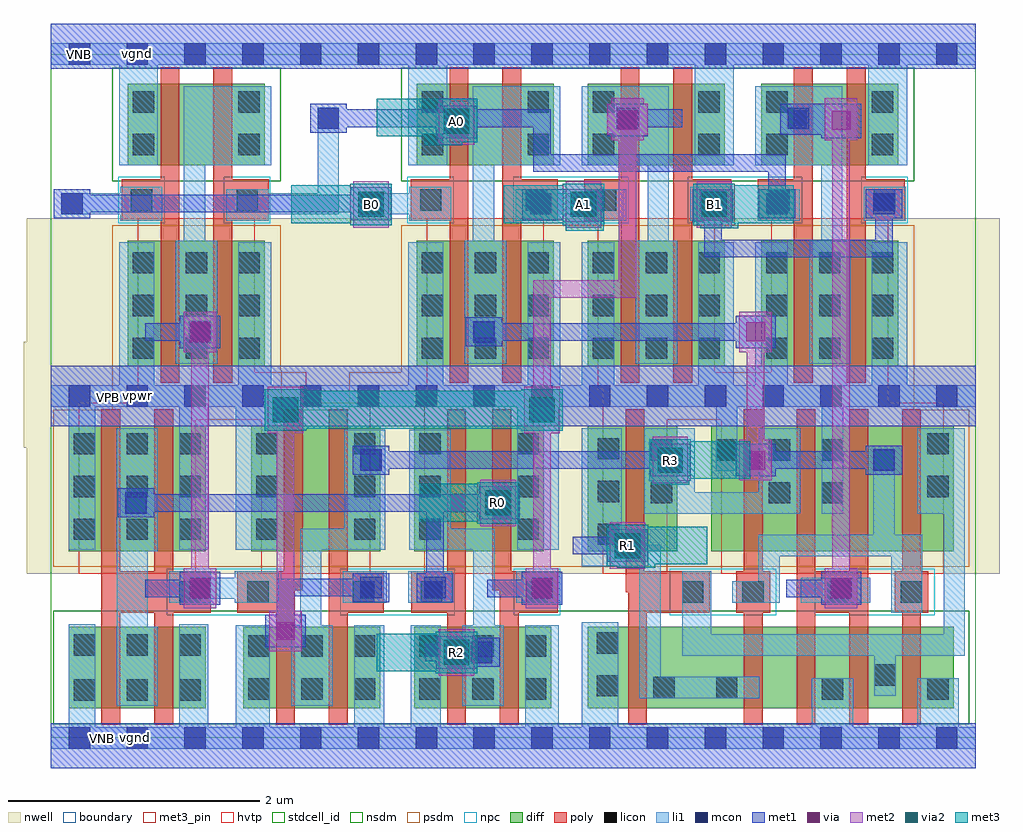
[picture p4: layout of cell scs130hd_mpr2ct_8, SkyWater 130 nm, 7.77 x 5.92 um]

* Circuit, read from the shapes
.subckt scs130hd_mpr2ct_8 A0 A1 B0 B1 R0 R1 R2 R3 VNB VPB vgnd vpwr
XM1 R0 n1 vgnd VNB sky130_fd_pr__nfet_01v8 w=0.65 l=0.15 m=2
XM2 n2 B0 vgnd VNB sky130_fd_pr__nfet_01v8 w=0.65 l=0.15
XM3 n1 A0 n2 VNB sky130_fd_pr__nfet_01v8 w=0.65 l=0.15
XM4 R3 n1 vgnd VNB sky130_fd_pr__nfet_01v8 w=0.65 l=0.15
XM5 vgnd n3 R3 VNB sky130_fd_pr__nfet_01v8 w=0.65 l=0.15
XM6 R2 R0 vgnd VNB sky130_fd_pr__nfet_01v8 w=0.65 l=0.15
XM7 n4 B0 vgnd VNB sky130_fd_pr__nfet_01v8 w=0.65 l=0.15
XM8 vgnd n3 R2 VNB sky130_fd_pr__nfet_01v8 w=0.65 l=0.15
XM9 n5 A1 n4 VNB sky130_fd_pr__nfet_01v8 w=0.65 l=0.15
XM10 n6 A1 n3 VNB sky130_fd_pr__nfet_01v8 w=0.65 l=0.15
XM11 R1 n7 vgnd VNB sky130_fd_pr__nfet_01v8 w=0.65 l=0.15
XM12 vgnd B1 n6 VNB sky130_fd_pr__nfet_01v8 w=0.65 l=0.15
XM13 n8 n5 R1 VNB sky130_fd_pr__nfet_01v8 w=0.65 l=0.15
XM14 n9 A0 n10 VNB sky130_fd_pr__nfet_01v8 w=0.65 l=0.15
XM15 vgnd n10 n8 VNB sky130_fd_pr__nfet_01v8 w=0.65 l=0.15
XM16 vgnd B1 n9 VNB sky130_fd_pr__nfet_01v8 w=0.65 l=0.15
XM17 n7 n10 vgnd VNB sky130_fd_pr__nfet_01v8 w=0.65 l=0.15
XM18 vgnd n5 n7 VNB sky130_fd_pr__nfet_01v8 w=0.65 l=0.15
XM19 R0 n1 vpwr VPB sky130_fd_pr__pfet_01v8_hvt w=1 l=0.15 m=2
XM20 n1 B0 vpwr VPB sky130_fd_pr__pfet_01v8_hvt w=1 l=0.15
XM21 vpwr A0 n1 VPB sky130_fd_pr__pfet_01v8_hvt w=1 l=0.15
XM22 n11 n1 vpwr VPB sky130_fd_pr__pfet_01v8_hvt w=1 l=0.15
XM23 R3 n3 n11 VPB sky130_fd_pr__pfet_01v8_hvt w=1 l=0.15
XM24 n12 R0 R2 VPB sky130_fd_pr__pfet_01v8_hvt w=1 l=0.15
XM25 n5 B0 vpwr VPB sky130_fd_pr__pfet_01v8_hvt w=1 l=0.15
XM26 vpwr n3 n12 VPB sky130_fd_pr__pfet_01v8_hvt w=1 l=0.15
XM27 vpwr A1 n5 VPB sky130_fd_pr__pfet_01v8_hvt w=1 l=0.15
XM28 n3 A1 vpwr VPB sky130_fd_pr__pfet_01v8_hvt w=1 l=0.15
XM29 n13 n7 R1 VPB sky130_fd_pr__pfet_01v8_hvt w=1 l=0.15
XM30 vpwr B1 n3 VPB sky130_fd_pr__pfet_01v8_hvt w=1 l=0.15
XM31 n13 n5 vpwr VPB sky130_fd_pr__pfet_01v8_hvt w=1 l=0.15
XM32 n10 A0 vpwr VPB sky130_fd_pr__pfet_01v8_hvt w=1 l=0.15
XM33 vpwr n10 n13 VPB sky130_fd_pr__pfet_01v8_hvt w=1 l=0.15
XM34 vpwr B1 n10 VPB sky130_fd_pr__pfet_01v8_hvt w=1 l=0.15
XM35 n14 n10 vpwr VPB sky130_fd_pr__pfet_01v8_hvt w=1 l=0.15
XM36 n7 n5 n14 VPB sky130_fd_pr__pfet_01v8_hvt w=1 l=0.15
.ends

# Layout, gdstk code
import gdstk
lib = gdstk.Library(unit=1e-6, precision=1e-09)
def R(c, l, rs):  # rectangles x0, y0, x1, y1
    for r in rs: c.add(gdstk.rectangle(r[:2], r[2:], *l))
nwell = (64, 20)
diff = (65, 20)
poly = (66, 20)
licon = (66, 44)
li1 = (67, 20)
mcon = (67, 44)
met1 = (68, 20)
via = (68, 44)
met2 = (69, 20)
via2 = (69, 44)
met3_pin = (70, 16)
met3 = (70, 20)
hvtp = (78, 44)
stdcell_id = (81, 4)
nsdm = (93, 44)
psdm = (94, 20)
npc = (95, 20)
boundary = (235, 4)

scs130hd_mpr2ct_8 = lib.new_cell('scs130hd_mpr2ct_8')
R(scs130hd_mpr2ct_8, nwell, [(-0.19,1.305,7.55,2.31), (-0.19,1.305,7.55,2.31), (-0.215,2.31,7.55,3.15), (-0.215,2.31,7.55,3.15), (-0.19,3.15,7.55,4.135), (-0.19,3.15,7.55,4.135)])
R(scs130hd_mpr2ct_8, diff, [(0.145,0.235,1.235,0.885), (0.145,0.235,1.235,0.885), (1.535,0.235,2.625,0.885), (1.535,0.235,2.625,0.885), (2.895,0.235,3.985,0.885), (2.895,0.235,3.985,0.885), (4.275,0.235,7.185,0.885), (4.275,0.235,7.185,0.885), (0.145,1.485,1.235,2.485), (0.145,1.485,1.235,2.485), (1.595,1.485,2.625,2.485), (1.595,1.485,2.625,2.485), (2.895,1.485,3.925,2.485), (2.895,1.485,3.925,2.485), (4.275,1.485,4.985,2.485), (4.275,1.485,4.985,2.485), (5.255,1.485,7.185,2.485), (5.255,1.485,7.185,2.485), (0.615,2.955,1.705,3.955), (0.615,2.955,1.705,3.955), (2.915,2.955,4.005,3.955), (2.915,2.955,4.005,3.955), (4.275,2.955,5.365,3.955), (4.275,2.955,5.365,3.955), (5.655,2.955,6.745,3.955), (5.655,2.955,6.745,3.955), (0.615,4.555,1.705,5.205), (0.615,4.555,1.705,5.205), (2.915,4.555,4.005,5.205), (2.915,4.555,4.005,5.205), (4.275,4.555,5.365,5.205), (4.275,4.555,5.365,5.205), (5.655,4.555,6.745,5.205), (5.655,4.555,6.745,5.205)])
R(scs130hd_mpr2ct_8, poly, [(0.405,0.105,0.555,0.995), (0.405,0.105,0.555,0.995), (0.825,0.105,0.975,0.995), (0.825,0.105,0.975,0.995), (1.795,0.105,1.945,0.995), (1.795,0.105,1.945,0.995), (2.215,0.105,2.365,0.995), (2.215,0.105,2.365,0.995), (3.155,0.105,3.305,0.995), (3.155,0.105,3.305,0.995), (3.575,0.105,3.725,0.995), (3.575,0.105,3.725,0.995), (4.595,0.105,4.745,0.995), (4.595,0.105,4.745,0.995), (5.515,0.105,5.665,0.995), (5.515,0.105,5.665,0.995), (5.935,0.105,6.085,0.995), (5.935,0.105,6.085,0.995), (6.355,0.105,6.505,0.995), (6.355,0.105,6.505,0.995), (6.775,0.105,6.925,0.995), (6.775,0.105,6.925,0.995), (0.405,0.995,1.275,1.325), (0.405,0.995,1.275,1.325), (1.485,0.995,1.945,1.175), (1.485,0.995,1.945,1.175), (2.215,0.995,2.65,1.325), (2.215,0.995,2.65,1.325), (2.87,0.995,3.305,1.325), (2.87,0.995,3.305,1.325), (3.575,0.995,4.035,1.175), (3.575,0.995,4.035,1.175), (4.595,0.995,5.245,1.16), (4.595,0.995,5.245,1.16), (5.455,0.995,5.725,1.325), (5.455,0.995,5.725,1.325), (5.935,0.995,6.505,1.325), (5.935,0.995,6.505,1.325), (6.715,0.995,6.985,1.325), (6.715,0.995,6.985,1.325), (4.575,1.16,5.245,1.325), (4.575,1.16,5.245,1.325), (1.485,1.175,2.005,1.325), (1.485,1.175,2.005,1.325), (3.515,1.175,4.035,1.325), (3.515,1.175,4.035,1.325), (0.405,1.325,0.555,2.615), (0.405,1.325,0.555,2.615), (0.825,1.325,0.975,2.615), (0.825,1.325,0.975,2.615), (1.855,1.325,2.005,2.615), (1.855,1.325,2.005,2.615), (2.215,1.325,2.365,2.615), (2.215,1.325,2.365,2.615), (3.155,1.325,3.305,2.615), (3.155,1.325,3.305,2.615), (3.515,1.325,3.665,2.615), (3.515,1.325,3.665,2.615), (4.575,1.325,4.725,2.615), (4.575,1.325,4.725,2.615), (5.515,1.325,5.665,2.615), (5.515,1.325,5.665,2.615), (5.935,1.325,6.085,2.615), (5.935,1.325,6.085,2.615), (6.355,1.325,6.505,2.615), (6.355,1.325,6.505,2.615), (6.775,1.325,6.925,2.615), (6.775,1.325,6.925,2.615), (0.875,2.825,1.025,4.115), (0.875,2.825,1.025,4.115), (1.295,2.825,1.445,4.115), (1.295,2.825,1.445,4.115), (3.175,2.825,3.325,4.115), (3.175,2.825,3.325,4.115), (3.595,2.825,3.745,4.115), (3.595,2.825,3.745,4.115), (4.535,2.825,4.685,4.115), (4.535,2.825,4.685,4.115), (4.955,2.825,5.105,4.115), (4.955,2.825,5.105,4.115), (5.915,2.825,6.065,4.115), (5.915,2.825,6.065,4.115), (6.335,2.825,6.485,4.115), (6.335,2.825,6.485,4.115), (0.565,4.115,1.025,4.445), (0.565,4.115,1.025,4.445), (1.295,4.115,1.735,4.445), (1.295,4.115,1.735,4.445), (2.865,4.115,3.325,4.445), (2.865,4.115,3.325,4.445), (3.595,4.115,4.035,4.445), (3.595,4.115,4.035,4.445), (4.245,4.115,4.685,4.445), (4.245,4.115,4.685,4.445), (4.955,4.115,5.415,4.445), (4.955,4.115,5.415,4.445), (5.625,4.115,6.065,4.445), (5.625,4.115,6.065,4.445), (6.335,4.115,6.795,4.445), (6.335,4.115,6.795,4.445), (0.875,4.445,1.025,5.335), (0.875,4.445,1.025,5.335), (1.295,4.445,1.445,5.335), (1.295,4.445,1.445,5.335), (3.175,4.445,3.325,5.335), (3.175,4.445,3.325,5.335), (3.595,4.445,3.745,5.335), (3.595,4.445,3.745,5.335), (4.535,4.445,4.685,5.335), (4.535,4.445,4.685,5.335), (4.955,4.445,5.105,5.335), (4.955,4.445,5.105,5.335), (5.915,4.445,6.065,5.335), (5.915,4.445,6.065,5.335), (6.335,4.445,6.485,5.335), (6.335,4.445,6.485,5.335)])
R(scs130hd_mpr2ct_8, licon, [(0.185,0.295,0.355,0.465), (0.185,0.295,0.355,0.465), (0.605,0.295,0.775,0.465), (0.605,0.295,0.775,0.465), (1.025,0.295,1.195,0.465), (1.025,0.295,1.195,0.465), (1.575,0.305,1.745,0.475), (1.575,0.305,1.745,0.475), (1.995,0.305,2.165,0.475), (1.995,0.305,2.165,0.475), (2.415,0.305,2.585,0.475), (2.415,0.305,2.585,0.475), (2.935,0.305,3.105,0.475), (2.935,0.305,3.105,0.475), (3.355,0.305,3.525,0.475), (3.355,0.305,3.525,0.475), (3.775,0.305,3.945,0.475), (3.775,0.305,3.945,0.475), (6.135,0.305,6.305,0.475), (6.135,0.305,6.305,0.475), (6.975,0.305,7.145,0.475), (6.975,0.305,7.145,0.475), (4.795,0.315,4.965,0.485), (4.795,0.315,4.965,0.485), (5.295,0.315,5.465,0.485), (5.295,0.315,5.465,0.485), (4.345,0.33,4.515,0.5), (4.345,0.33,4.515,0.5), (6.555,0.415,6.725,0.585), (6.555,0.415,6.725,0.585), (1.575,0.645,1.745,0.815), (1.575,0.645,1.745,0.815), (1.995,0.645,2.165,0.815), (1.995,0.645,2.165,0.815), (2.415,0.645,2.585,0.815), (2.415,0.645,2.585,0.815), (2.935,0.645,3.105,0.815), (2.935,0.645,3.105,0.815), (3.355,0.645,3.525,0.815), (3.355,0.645,3.525,0.815), (3.775,0.645,3.945,0.815), (3.775,0.645,3.945,0.815), (0.185,0.655,0.355,0.825), (0.185,0.655,0.355,0.825), (0.605,0.655,0.775,0.825), (0.605,0.655,0.775,0.825), (1.025,0.655,1.195,0.825), (1.025,0.655,1.195,0.825), (4.345,0.67,4.515,0.84), (4.345,0.67,4.515,0.84), (1.025,1.075,1.195,1.245), (1.025,1.075,1.195,1.245), (1.565,1.075,1.735,1.245), (1.565,1.075,1.735,1.245), (2.405,1.075,2.575,1.245), (2.405,1.075,2.575,1.245), (2.945,1.075,3.115,1.245), (2.945,1.075,3.115,1.245), (3.785,1.075,3.955,1.245), (3.785,1.075,3.955,1.245), (5.025,1.075,5.195,1.245), (5.025,1.075,5.195,1.245), (5.505,1.075,5.675,1.245), (5.505,1.075,5.675,1.245), (6.18,1.075,6.35,1.245), (6.18,1.075,6.35,1.245), (6.765,1.075,6.935,1.245), (6.765,1.075,6.935,1.245), (4.355,1.535,4.525,1.705), (4.355,1.535,4.525,1.705), (0.185,1.575,0.355,1.745), (0.185,1.575,0.355,1.745), (0.605,1.575,0.775,1.745), (0.605,1.575,0.775,1.745), (1.025,1.575,1.195,1.745), (1.025,1.575,1.195,1.745), (1.635,1.575,1.805,1.745), (1.635,1.575,1.805,1.745), (2.415,1.575,2.585,1.745), (2.415,1.575,2.585,1.745), (2.935,1.575,3.105,1.745), (2.935,1.575,3.105,1.745), (3.715,1.575,3.885,1.745), (3.715,1.575,3.885,1.745), (4.775,1.865,4.945,2.035), (4.775,1.865,4.945,2.035), (5.715,1.865,5.885,2.035), (5.715,1.865,5.885,2.035), (6.135,1.865,6.305,2.035), (6.135,1.865,6.305,2.035), (4.355,1.875,4.525,2.045), (4.355,1.875,4.525,2.045), (0.185,1.915,0.355,2.085), (0.185,1.915,0.355,2.085), (0.605,1.915,0.775,2.085), (0.605,1.915,0.775,2.085), (1.025,1.915,1.195,2.085), (1.025,1.915,1.195,2.085), (1.635,1.915,1.805,2.085), (1.635,1.915,1.805,2.085), (2.415,1.915,2.585,2.085), (2.415,1.915,2.585,2.085), (2.935,1.915,3.105,2.085), (2.935,1.915,3.105,2.085), (3.715,1.915,3.885,2.085), (3.715,1.915,3.885,2.085), (6.975,1.915,7.145,2.085), (6.975,1.915,7.145,2.085), (4.775,2.205,4.945,2.375), (4.775,2.205,4.945,2.375), (5.295,2.205,5.465,2.375), (5.295,2.205,5.465,2.375), (5.715,2.205,5.885,2.375), (5.715,2.205,5.885,2.375), (6.135,2.205,6.305,2.375), (6.135,2.205,6.305,2.375), (4.355,2.215,4.525,2.385), (4.355,2.215,4.525,2.385), (0.185,2.255,0.355,2.425), (0.185,2.255,0.355,2.425), (0.605,2.255,0.775,2.425), (0.605,2.255,0.775,2.425), (1.025,2.255,1.195,2.425), (1.025,2.255,1.195,2.425), (1.635,2.255,1.805,2.425), (1.635,2.255,1.805,2.425), (2.415,2.255,2.585,2.425), (2.415,2.255,2.585,2.425), (2.935,2.255,3.105,2.425), (2.935,2.255,3.105,2.425), (3.715,2.255,3.885,2.425), (3.715,2.255,3.885,2.425), (6.975,2.255,7.145,2.425), (6.975,2.255,7.145,2.425), (0.655,3.015,0.825,3.185), (0.655,3.015,0.825,3.185), (1.075,3.015,1.245,3.185), (1.075,3.015,1.245,3.185), (1.495,3.015,1.665,3.185), (1.495,3.015,1.665,3.185), (2.955,3.015,3.125,3.185), (2.955,3.015,3.125,3.185), (3.375,3.015,3.545,3.185), (3.375,3.015,3.545,3.185), (3.795,3.015,3.965,3.185), (3.795,3.015,3.965,3.185), (4.315,3.015,4.485,3.185), (4.315,3.015,4.485,3.185), (4.735,3.015,4.905,3.185), (4.735,3.015,4.905,3.185), (5.155,3.015,5.325,3.185), (5.155,3.015,5.325,3.185), (5.695,3.015,5.865,3.185), (5.695,3.015,5.865,3.185), (6.115,3.015,6.285,3.185), (6.115,3.015,6.285,3.185), (6.535,3.015,6.705,3.185), (6.535,3.015,6.705,3.185), (0.655,3.355,0.825,3.525), (0.655,3.355,0.825,3.525), (1.075,3.355,1.245,3.525), (1.075,3.355,1.245,3.525), (1.495,3.355,1.665,3.525), (1.495,3.355,1.665,3.525), (2.955,3.355,3.125,3.525), (2.955,3.355,3.125,3.525), (3.375,3.355,3.545,3.525), (3.375,3.355,3.545,3.525), (3.795,3.355,3.965,3.525), (3.795,3.355,3.965,3.525), (4.315,3.355,4.485,3.525), (4.315,3.355,4.485,3.525), (4.735,3.355,4.905,3.525), (4.735,3.355,4.905,3.525), (5.155,3.355,5.325,3.525), (5.155,3.355,5.325,3.525), (5.695,3.355,5.865,3.525), (5.695,3.355,5.865,3.525), (6.115,3.355,6.285,3.525), (6.115,3.355,6.285,3.525), (6.535,3.355,6.705,3.525), (6.535,3.355,6.705,3.525), (0.655,3.695,0.825,3.865), (0.655,3.695,0.825,3.865), (1.075,3.695,1.245,3.865), (1.075,3.695,1.245,3.865), (1.495,3.695,1.665,3.865), (1.495,3.695,1.665,3.865), (2.955,3.695,3.125,3.865), (2.955,3.695,3.125,3.865), (3.375,3.695,3.545,3.865), (3.375,3.695,3.545,3.865), (3.795,3.695,3.965,3.865), (3.795,3.695,3.965,3.865), (4.315,3.695,4.485,3.865), (4.315,3.695,4.485,3.865), (4.735,3.695,4.905,3.865), (4.735,3.695,4.905,3.865), (5.155,3.695,5.325,3.865), (5.155,3.695,5.325,3.865), (5.695,3.695,5.865,3.865), (5.695,3.695,5.865,3.865), (6.115,3.695,6.285,3.865), (6.115,3.695,6.285,3.865), (6.535,3.695,6.705,3.865), (6.535,3.695,6.705,3.865), (0.64,4.195,0.81,4.365), (0.64,4.195,0.81,4.365), (1.48,4.195,1.65,4.365), (1.48,4.195,1.65,4.365), (2.94,4.195,3.11,4.365), (2.94,4.195,3.11,4.365), (3.78,4.195,3.95,4.365), (3.78,4.195,3.95,4.365), (4.33,4.195,4.5,4.365), (4.33,4.195,4.5,4.365), (5.17,4.195,5.34,4.365), (5.17,4.195,5.34,4.365), (5.71,4.195,5.88,4.365), (5.71,4.195,5.88,4.365), (6.55,4.195,6.72,4.365), (6.55,4.195,6.72,4.365), (0.655,4.635,0.825,4.805), (0.655,4.635,0.825,4.805), (1.495,4.635,1.665,4.805), (1.495,4.635,1.665,4.805), (2.955,4.635,3.125,4.805), (2.955,4.635,3.125,4.805), (3.795,4.635,3.965,4.805), (3.795,4.635,3.965,4.805), (4.315,4.635,4.485,4.805), (4.315,4.635,4.485,4.805), (5.155,4.635,5.325,4.805), (5.155,4.635,5.325,4.805), (5.695,4.635,5.865,4.805), (5.695,4.635,5.865,4.805), (6.535,4.635,6.705,4.805), (6.535,4.635,6.705,4.805), (0.655,4.975,0.825,5.145), (0.655,4.975,0.825,5.145), (1.495,4.975,1.665,5.145), (1.495,4.975,1.665,5.145), (2.955,4.975,3.125,5.145), (2.955,4.975,3.125,5.145), (3.795,4.975,3.965,5.145), (3.795,4.975,3.965,5.145), (4.315,4.975,4.485,5.145), (4.315,4.975,4.485,5.145), (5.155,4.975,5.325,5.145), (5.155,4.975,5.325,5.145), (5.695,4.975,5.865,5.145), (5.695,4.975,5.865,5.145), (6.535,4.975,6.705,5.145), (6.535,4.975,6.705,5.145)])
R(scs130hd_mpr2ct_8, li1, [(0,-0.085,7.36,0.085), (0,-0.085,7.36,0.085), (0.145,0.085,0.355,0.905), (0.145,0.085,0.355,0.905), (1.025,0.085,1.255,0.905), (1.025,0.085,1.255,0.905), (1.475,0.085,1.745,0.895), (1.475,0.085,1.745,0.895), (2.415,0.085,2.655,0.895), (2.415,0.085,2.655,0.895), (2.865,0.085,3.105,0.895), (2.865,0.085,3.105,0.895), (3.775,0.085,4.045,0.895), (3.775,0.085,4.045,0.895), (4.225,0.085,4.515,0.92), (4.225,0.085,4.515,0.92), (6.055,0.085,6.385,0.475), (6.055,0.085,6.385,0.475), (6.895,0.085,7.225,0.475), (6.895,0.085,7.225,0.475), (0.525,0.255,0.855,0.885), (0.525,0.255,0.855,0.885), (1.915,0.255,2.245,0.895), (1.915,0.255,2.245,0.895), (3.275,0.255,3.605,0.895), (3.275,0.255,3.605,0.895), (4.685,0.315,5.64,0.485), (4.685,0.315,5.64,0.485), (6.555,0.335,6.725,0.655), (6.555,0.335,6.725,0.655), (4.685,0.485,4.855,1.365), (4.685,0.485,4.855,1.365), (5.025,0.655,7.275,0.825), (5.025,0.655,7.275,0.825), (5.025,0.825,5.255,1.325), (5.025,0.825,5.255,1.325), (7.105,0.825,7.275,1.785), (7.105,0.825,7.275,1.785), (0.525,0.885,0.775,1.485), (0.525,0.885,0.775,1.485), (1.985,0.895,2.155,1.495), (1.985,0.895,2.155,1.495), (3.365,0.895,3.535,1.495), (3.365,0.895,3.535,1.495), (6.69,0.995,6.935,1.445), (6.69,0.995,6.935,1.445), (0.945,1.075,1.275,1.105), (0.945,1.075,1.275,1.105), (1.465,1.075,1.815,1.105), (1.465,1.075,1.815,1.105), (2.325,1.075,2.675,1.325), (2.325,1.075,2.675,1.325), (2.845,1.075,3.195,1.325), (2.845,1.075,3.195,1.325), (3.705,1.075,4.055,1.325), (3.705,1.075,4.055,1.325), (5.425,1.075,5.8,1.245), (5.425,1.075,5.8,1.245), (5.97,1.075,6.52,1.275), (5.97,1.075,6.52,1.275), (0.945,1.105,1.815,1.275), (0.945,1.105,1.815,1.275), (5.63,1.245,5.8,1.445), (5.63,1.245,5.8,1.445), (0.945,1.275,1.275,1.325), (0.945,1.275,1.275,1.325), (1.465,1.275,1.815,1.325), (1.465,1.275,1.815,1.325), (4.225,1.365,4.855,1.535), (4.225,1.365,4.855,1.535), (5.63,1.445,6.935,1.615), (5.63,1.445,6.935,1.615), (0.525,1.485,0.855,2.465), (0.525,1.485,0.855,2.465), (0.145,1.495,0.355,2.635), (0.145,1.495,0.355,2.635), (1.025,1.495,1.255,2.635), (1.025,1.495,1.255,2.635), (1.475,1.495,1.805,2.635), (1.475,1.495,1.805,2.635), (1.985,1.495,2.665,1.665), (1.985,1.495,2.665,1.665), (2.855,1.495,3.535,1.665), (2.855,1.495,3.535,1.665), (3.715,1.495,4.045,2.635), (3.715,1.495,4.045,2.635), (4.225,1.535,4.675,1.615), (4.225,1.535,4.675,1.615), (4.225,1.615,4.545,2.465), (4.225,1.615,4.545,2.465), (6.545,1.615,6.715,2.295), (6.545,1.615,6.715,2.295), (2.335,1.665,2.665,2.45), (2.335,1.665,2.665,2.45), (2.855,1.665,3.185,2.45), (2.855,1.665,3.185,2.45), (4.725,1.785,5.965,1.955), (4.725,1.785,5.965,1.955), (6.135,1.785,6.305,2.635), (6.135,1.785,6.305,2.635), (6.895,1.785,7.275,2.465), (6.895,1.785,7.275,2.465), (4.725,1.955,5.125,2.465), (4.725,1.955,5.125,2.465), (5.635,1.955,5.965,2.465), (5.635,1.955,5.965,2.465), (5.295,2.125,5.465,2.635), (5.295,2.125,5.465,2.635), (0,2.635,7.36,2.805), (0,2.635,7.36,2.805), (0.545,2.805,0.825,3.945), (0.545,2.805,0.825,3.945), (1.495,2.805,1.755,3.945), (1.495,2.805,1.755,3.945), (2.845,2.805,3.125,3.945), (2.845,2.805,3.125,3.945), (3.795,2.805,4.055,3.945), (3.795,2.805,4.055,3.945), (4.225,2.805,4.485,3.945), (4.225,2.805,4.485,3.945), (5.155,2.805,5.435,3.945), (5.155,2.805,5.435,3.945), (5.605,2.805,5.865,3.945), (5.605,2.805,5.865,3.945), (6.535,2.805,6.815,3.945), (6.535,2.805,6.815,3.945), (0.995,2.975,1.325,3.955), (0.995,2.975,1.325,3.955), (3.295,2.975,3.625,3.955), (3.295,2.975,3.625,3.955), (4.655,2.975,4.985,3.955), (4.655,2.975,4.985,3.955), (6.035,2.975,6.365,3.955), (6.035,2.975,6.365,3.955), (1.06,3.955,1.23,4.555), (1.06,3.955,1.23,4.555), (3.36,3.955,3.53,4.555), (3.36,3.955,3.53,4.555), (4.75,3.955,4.92,4.555), (4.75,3.955,4.92,4.555), (6.13,3.955,6.3,4.555), (6.13,3.955,6.3,4.555), (0.555,4.115,0.89,4.165), (0.555,4.115,0.89,4.165), (1.4,4.115,1.735,4.165), (1.4,4.115,1.735,4.165), (2.855,4.115,3.19,4.165), (2.855,4.115,3.19,4.165), (3.7,4.115,4.035,4.165), (3.7,4.115,4.035,4.165), (4.245,4.115,4.58,4.165), (4.245,4.115,4.58,4.165), (5.09,4.115,5.425,4.385), (5.09,4.115,5.425,4.385), (5.625,4.115,5.96,4.365), (5.625,4.115,5.96,4.365), (6.47,4.115,6.805,4.385), (6.47,4.115,6.805,4.385), (0.085,4.165,0.89,4.335), (0.085,4.165,0.89,4.335), (1.4,4.165,2.295,4.335), (1.4,4.165,2.295,4.335), (2.465,4.165,3.19,4.335), (2.465,4.165,3.19,4.335), (3.7,4.165,4.58,4.335), (3.7,4.165,4.58,4.335), (0.555,4.335,0.89,4.385), (0.555,4.335,0.89,4.385), (1.4,4.335,1.735,4.365), (1.4,4.335,1.735,4.365), (2.125,4.335,2.295,5.015), (2.125,4.335,2.295,5.015), (2.855,4.335,3.19,4.385), (2.855,4.335,3.19,4.385), (3.7,4.335,4.035,4.365), (3.7,4.335,4.035,4.365), (4.245,4.335,4.58,4.365), (4.245,4.335,4.58,4.365), (0.545,4.555,0.855,5.355), (0.545,4.555,0.855,5.355), (1.06,4.555,1.755,5.185), (1.06,4.555,1.755,5.185), (2.845,4.555,3.155,5.355), (2.845,4.555,3.155,5.355), (3.36,4.555,4.055,5.185), (3.36,4.555,4.055,5.185), (4.225,4.555,4.92,5.185), (4.225,4.555,4.92,5.185), (5.125,4.555,5.435,5.355), (5.125,4.555,5.435,5.355), (5.605,4.555,6.3,5.185), (5.605,4.555,6.3,5.185), (6.505,4.555,6.815,5.355), (6.505,4.555,6.815,5.355), (0,5.355,7.36,5.525), (0,5.355,7.36,5.525)])
R(scs130hd_mpr2ct_8, mcon, [(0.145,-0.085,0.315,0.085), (0.145,-0.085,0.315,0.085), (0.605,-0.085,0.775,0.085), (0.605,-0.085,0.775,0.085), (1.065,-0.085,1.235,0.085), (1.065,-0.085,1.235,0.085), (1.525,-0.085,1.695,0.085), (1.525,-0.085,1.695,0.085), (1.985,-0.085,2.155,0.085), (1.985,-0.085,2.155,0.085), (2.445,-0.085,2.615,0.085), (2.445,-0.085,2.615,0.085), (2.905,-0.085,3.075,0.085), (2.905,-0.085,3.075,0.085), (3.365,-0.085,3.535,0.085), (3.365,-0.085,3.535,0.085), (3.825,-0.085,3.995,0.085), (3.825,-0.085,3.995,0.085), (4.285,-0.085,4.455,0.085), (4.285,-0.085,4.455,0.085), (4.745,-0.085,4.915,0.085), (4.745,-0.085,4.915,0.085), (5.205,-0.085,5.375,0.085), (5.205,-0.085,5.375,0.085), (5.665,-0.085,5.835,0.085), (5.665,-0.085,5.835,0.085), (6.125,-0.085,6.295,0.085), (6.125,-0.085,6.295,0.085), (6.585,-0.085,6.755,0.085), (6.585,-0.085,6.755,0.085), (7.045,-0.085,7.215,0.085), (7.045,-0.085,7.215,0.085), (3.345,0.595,3.515,0.765), (3.345,0.595,3.515,0.765), (1.105,1.105,1.275,1.275), (1.105,1.105,1.275,1.275), (3.825,1.105,3.995,1.275), (3.825,1.105,3.995,1.275), (6.205,1.105,6.375,1.275), (6.205,1.105,6.375,1.275), (2.465,1.11,2.635,1.28), (2.465,1.11,2.635,1.28), (2.975,1.11,3.145,1.28), (2.975,1.11,3.145,1.28), (4.505,1.445,4.675,1.615), (4.505,1.445,4.675,1.615), (0.595,1.785,0.765,1.955), (0.595,1.785,0.765,1.955), (2.465,2.125,2.635,2.295), (2.465,2.125,2.635,2.295), (6.545,2.125,6.715,2.295), (6.545,2.125,6.715,2.295), (0.145,2.635,0.315,2.805), (0.145,2.635,0.315,2.805), (0.605,2.635,0.775,2.805), (0.605,2.635,0.775,2.805), (1.065,2.635,1.235,2.805), (1.065,2.635,1.235,2.805), (1.525,2.635,1.695,2.805), (1.525,2.635,1.695,2.805), (1.985,2.635,2.155,2.805), (1.985,2.635,2.155,2.805), (2.445,2.635,2.615,2.805), (2.445,2.635,2.615,2.805), (2.905,2.635,3.075,2.805), (2.905,2.635,3.075,2.805), (3.365,2.635,3.535,2.805), (3.365,2.635,3.535,2.805), (3.825,2.635,3.995,2.805), (3.825,2.635,3.995,2.805), (4.285,2.635,4.455,2.805), (4.285,2.635,4.455,2.805), (4.745,2.635,4.915,2.805), (4.745,2.635,4.915,2.805), (5.205,2.635,5.375,2.805), (5.205,2.635,5.375,2.805), (5.665,2.635,5.835,2.805), (5.665,2.635,5.835,2.805), (6.125,2.635,6.295,2.805), (6.125,2.635,6.295,2.805), (6.585,2.635,6.755,2.805), (6.585,2.635,6.755,2.805), (7.045,2.635,7.215,2.805), (7.045,2.635,7.215,2.805), (1.105,3.145,1.275,3.315), (1.105,3.145,1.275,3.315), (3.365,3.145,3.535,3.315), (3.365,3.145,3.535,3.315), (0.085,4.165,0.255,4.335), (0.085,4.165,0.255,4.335), (2.465,4.165,2.635,4.335), (2.465,4.165,2.635,4.335), (3.815,4.165,3.985,4.335), (3.815,4.165,3.985,4.335), (5.185,4.165,5.355,4.335), (5.185,4.165,5.355,4.335), (5.695,4.165,5.865,4.335), (5.695,4.165,5.865,4.335), (6.545,4.165,6.715,4.335), (6.545,4.165,6.715,4.335), (2.125,4.845,2.295,5.015), (2.125,4.845,2.295,5.015), (4.505,4.845,4.675,5.015), (4.505,4.845,4.675,5.015), (5.865,4.845,6.035,5.015), (5.865,4.845,6.035,5.015), (0.145,5.355,0.315,5.525), (0.145,5.355,0.315,5.525), (0.605,5.355,0.775,5.525), (0.605,5.355,0.775,5.525), (1.065,5.355,1.235,5.525), (1.065,5.355,1.235,5.525), (1.525,5.355,1.695,5.525), (1.525,5.355,1.695,5.525), (1.985,5.355,2.155,5.525), (1.985,5.355,2.155,5.525), (2.445,5.355,2.615,5.525), (2.445,5.355,2.615,5.525), (2.905,5.355,3.075,5.525), (2.905,5.355,3.075,5.525), (3.365,5.355,3.535,5.525), (3.365,5.355,3.535,5.525), (3.825,5.355,3.995,5.525), (3.825,5.355,3.995,5.525), (4.285,5.355,4.455,5.525), (4.285,5.355,4.455,5.525), (4.745,5.355,4.915,5.525), (4.745,5.355,4.915,5.525), (5.205,5.355,5.375,5.525), (5.205,5.355,5.375,5.525), (5.665,5.355,5.835,5.525), (5.665,5.355,5.835,5.525), (6.125,5.355,6.295,5.525), (6.125,5.355,6.295,5.525), (6.585,5.355,6.755,5.525), (6.585,5.355,6.755,5.525), (7.045,5.355,7.215,5.525), (7.045,5.355,7.215,5.525)])
R(scs130hd_mpr2ct_8, met1, [(0,-0.24,7.36,0.115), (0,-0.24,7.36,0.115), (3.07,0.55,3.39,0.565), (3.07,0.55,3.39,0.565), (3.07,0.565,3.575,0.61), (3.07,0.565,3.575,0.61), (2.98,0.61,3.575,0.75), (2.98,0.61,3.575,0.75), (1.71,0.72,2.03,0.98), (1.71,0.72,2.03,0.98), (3.07,0.75,3.575,0.795), (3.07,0.75,3.575,0.795), (3.07,0.795,3.39,0.81), (3.07,0.795,3.39,0.81), (1.8,0.98,1.94,1.125), (1.8,0.98,1.94,1.125), (1.03,1.06,1.35,1.12), (1.03,1.06,1.35,1.12), (3.75,1.06,4.07,1.12), (3.75,1.06,4.07,1.12), (6.13,1.06,6.45,1.12), (6.13,1.06,6.45,1.12), (2.405,1.08,2.695,1.125), (2.405,1.08,2.695,1.125), (2.915,1.08,3.205,1.31), (2.915,1.08,3.205,1.31), (0.755,1.12,1.35,1.26), (0.755,1.12,1.35,1.26), (3.475,1.12,4.07,1.26), (3.475,1.12,4.07,1.26), (5.855,1.12,6.45,1.26), (5.855,1.12,6.45,1.26), (1.8,1.125,2.695,1.265), (1.8,1.125,2.695,1.265), (1.03,1.26,1.35,1.32), (1.03,1.26,1.35,1.32), (3.75,1.26,4.07,1.32), (3.75,1.26,4.07,1.32), (6.13,1.26,6.45,1.32), (6.13,1.26,6.45,1.32), (2.405,1.265,2.695,1.31), (2.405,1.265,2.695,1.31), (2.99,1.31,3.13,1.8), (2.99,1.31,3.13,1.8), (4.43,1.4,4.75,1.46), (4.43,1.4,4.75,1.46), (4.155,1.46,4.75,1.6), (4.155,1.46,4.75,1.6), (4.43,1.6,4.75,1.66), (4.43,1.6,4.75,1.66), (3.41,1.74,3.73,1.8), (3.41,1.74,3.73,1.8), (0.535,1.755,0.825,1.8), (0.535,1.755,0.825,1.8), (0.535,1.8,3.73,1.94), (0.535,1.8,3.73,1.94), (0.535,1.94,0.825,1.985), (0.535,1.94,0.825,1.985), (3.41,1.94,3.73,2), (3.41,1.94,3.73,2), (4.77,2.08,5.09,2.14), (4.77,2.08,5.09,2.14), (5.45,2.08,5.77,2.14), (5.45,2.08,5.77,2.14), (2.405,2.095,2.695,2.14), (2.405,2.095,2.695,2.14), (6.485,2.095,6.775,2.14), (6.485,2.095,6.775,2.14), (2.405,2.14,5.09,2.28), (2.405,2.14,5.09,2.28), (5.45,2.14,6.775,2.28), (5.45,2.14,6.775,2.28), (2.405,2.28,2.695,2.325), (2.405,2.28,2.695,2.325), (4.77,2.28,5.09,2.34), (4.77,2.28,5.09,2.34), (5.45,2.28,5.77,2.34), (5.45,2.28,5.77,2.34), (6.485,2.28,6.775,2.325), (6.485,2.28,6.775,2.325), (0,2.48,7.36,2.96), (0,2.48,7.36,2.96), (1.03,3.1,1.35,3.16), (1.03,3.1,1.35,3.16), (5.45,3.1,5.77,3.16), (5.45,3.1,5.77,3.16), (3.305,3.115,3.595,3.16), (3.305,3.115,3.595,3.16), (0.755,3.16,1.35,3.3), (0.755,3.16,1.35,3.3), (3.305,3.16,5.77,3.3), (3.305,3.16,5.77,3.3), (1.03,3.3,1.35,3.36), (1.03,3.3,1.35,3.36), (3.305,3.3,3.595,3.345), (3.305,3.3,3.595,3.345), (5.45,3.3,5.77,3.36), (5.45,3.3,5.77,3.36), (5.2,3.825,6.7,3.965), (5.2,3.825,6.7,3.965), (5.2,3.965,5.34,4.105), (5.2,3.965,5.34,4.105), (6.56,3.965,6.7,4.135), (6.56,3.965,6.7,4.135), (4.08,4.105,4.4,4.12), (4.08,4.105,4.4,4.12), (5.11,4.105,5.43,4.365), (5.11,4.105,5.43,4.365), (2.39,4.12,2.71,4.18), (2.39,4.12,2.71,4.18), (3.755,4.12,4.4,4.365), (3.755,4.12,4.4,4.365), (0.025,4.135,0.315,4.18), (0.025,4.135,0.315,4.18), (5.635,4.135,5.925,4.365), (5.635,4.135,5.925,4.365), (6.485,4.135,6.775,4.365), (6.485,4.135,6.775,4.365), (0.025,4.18,2.71,4.32), (0.025,4.18,2.71,4.32), (0.025,4.32,0.315,4.365), (0.025,4.32,0.315,4.365), (2.39,4.32,2.71,4.38), (2.39,4.32,2.71,4.38), (5.71,4.365,5.85,4.505), (5.71,4.365,5.85,4.505), (3.84,4.505,5.85,4.645), (3.84,4.505,5.85,4.645), (3.84,4.645,3.98,4.86), (3.84,4.645,3.98,4.86), (3.07,4.77,3.39,4.83), (3.07,4.77,3.39,4.83), (6.13,4.77,6.45,4.8), (6.13,4.77,6.45,4.8), (4.43,4.785,4.75,4.86), (4.43,4.785,4.75,4.86), (5.805,4.8,6.45,5.045), (5.805,4.8,6.45,5.045), (2.065,4.815,2.355,4.86), (2.065,4.815,2.355,4.86), (3.065,4.83,3.395,4.86), (3.065,4.83,3.395,4.86), (2.065,4.86,3.98,5), (2.065,4.86,3.98,5), (4.43,4.86,5.025,5), (4.43,4.86,5.025,5), (2.065,5,2.355,5.045), (2.065,5,2.355,5.045), (3.07,5,3.39,5.03), (3.07,5,3.39,5.03), (4.43,5,4.75,5.045), (4.43,5,4.75,5.045), (0,5.325,7.36,5.68), (0,5.325,7.36,5.68)])
R(scs130hd_mpr2ct_8, via, [(3.155,0.605,3.305,0.755), (3.155,0.605,3.305,0.755), (1.795,0.775,1.945,0.925), (1.795,0.775,1.945,0.925), (1.115,1.115,1.265,1.265), (1.115,1.115,1.265,1.265), (3.835,1.115,3.985,1.265), (3.835,1.115,3.985,1.265), (6.215,1.115,6.365,1.265), (6.215,1.115,6.365,1.265), (4.515,1.455,4.665,1.605), (4.515,1.455,4.665,1.605), (3.495,1.795,3.645,1.945), (3.495,1.795,3.645,1.945), (4.855,2.135,5.005,2.285), (4.855,2.135,5.005,2.285), (5.535,2.135,5.685,2.285), (5.535,2.135,5.685,2.285), (1.115,3.155,1.265,3.305), (1.115,3.155,1.265,3.305), (5.535,3.155,5.685,3.305), (5.535,3.155,5.685,3.305), (4.165,4.16,4.315,4.31), (4.165,4.16,4.315,4.31), (5.195,4.16,5.345,4.31), (5.195,4.16,5.345,4.31), (2.475,4.175,2.625,4.325), (2.475,4.175,2.625,4.325), (3.155,4.825,3.305,4.975), (3.155,4.825,3.305,4.975), (4.515,4.84,4.665,4.99), (4.515,4.84,4.665,4.99), (6.215,4.84,6.365,4.99), (6.215,4.84,6.365,4.99)])
R(scs130hd_mpr2ct_8, met2, [(3.09,0.495,3.37,0.865), (3.09,0.495,3.37,0.865), (1.74,0.69,2,1.01), (1.74,0.69,2,1.01), (1.8,1.01,1.94,2.425), (1.8,1.01,1.94,2.425), (1.06,1.03,1.32,1.35), (1.06,1.03,1.32,1.35), (3.78,1.03,4.04,1.35), (3.78,1.03,4.04,1.35), (6.16,1.03,6.42,1.35), (6.16,1.03,6.42,1.35), (4.45,1.345,4.73,1.715), (4.45,1.345,4.73,1.715), (1.12,1.35,1.26,3.07), (1.12,1.35,1.26,3.07), (3.84,1.35,3.98,2.425), (3.84,1.35,3.98,2.425), (6.22,1.35,6.36,4.755), (6.22,1.35,6.36,4.755), (3.42,1.685,3.7,2.055), (3.42,1.685,3.7,2.055), (4.79,2.025,5.07,2.395), (4.79,2.025,5.07,2.395), (5.48,2.05,5.74,2.37), (5.48,2.05,5.74,2.37), (5.54,2.37,5.68,3.07), (5.54,2.37,5.68,3.07), (1.73,2.425,2.01,2.795), (1.73,2.425,2.01,2.795), (3.77,2.425,4.05,2.795), (3.77,2.425,4.05,2.795), (3.84,2.795,3.98,3.5), (3.84,2.795,3.98,3.5), (1.06,3.07,1.32,3.39), (1.06,3.07,1.32,3.39), (5.48,3.07,5.74,3.39), (5.48,3.07,5.74,3.39), (3.84,3.5,4.66,3.64), (3.84,3.5,4.66,3.64), (4.52,3.64,4.66,4.755), (4.52,3.64,4.66,4.755), (2.41,4.06,2.69,4.43), (2.41,4.06,2.69,4.43), (4.1,4.06,4.38,4.43), (4.1,4.06,4.38,4.43), (5.14,4.06,5.42,4.43), (5.14,4.06,5.42,4.43), (3.09,4.72,3.37,5.09), (3.09,4.72,3.37,5.09), (4.46,4.755,4.72,4.8), (4.46,4.755,4.72,4.8), (6.16,4.755,6.42,5.09), (6.16,4.755,6.42,5.09), (4.43,4.8,4.75,5.045), (4.43,4.8,4.75,5.045), (4.46,5.045,4.72,5.09), (4.46,5.045,4.72,5.09)])
R(scs130hd_mpr2ct_8, via2, [(3.13,0.58,3.33,0.78), (3.13,0.58,3.33,0.78), (4.49,1.43,4.69,1.63), (4.49,1.43,4.69,1.63), (3.46,1.77,3.66,1.97), (3.46,1.77,3.66,1.97), (4.83,2.11,5.03,2.31), (4.83,2.11,5.03,2.31), (1.77,2.51,1.97,2.71), (1.77,2.51,1.97,2.71), (3.81,2.51,4.01,2.71), (3.81,2.51,4.01,2.71), (2.45,4.145,2.65,4.345), (2.45,4.145,2.65,4.345), (4.14,4.145,4.34,4.345), (4.14,4.145,4.34,4.345), (5.18,4.145,5.38,4.345), (5.18,4.145,5.38,4.345), (3.13,4.805,3.33,5.005), (3.13,4.805,3.33,5.005)])
R(scs130hd_mpr2ct_8, met3_pin, [(3.065,0.515,3.395,0.845), (3.065,0.515,3.395,0.845), (4.425,1.365,4.755,1.695), (4.425,1.365,4.755,1.695), (3.395,1.705,3.725,2.035), (3.395,1.705,3.725,2.035), (4.765,2.045,5.095,2.375), (4.765,2.045,5.095,2.375), (2.385,4.08,2.715,4.41), (2.385,4.08,2.715,4.41), (4.075,4.08,4.405,4.41), (4.075,4.08,4.405,4.41), (5.115,4.08,5.445,4.41), (5.115,4.08,5.445,4.41), (3.065,4.74,3.395,5.07), (3.065,4.74,3.395,5.07)])
R(scs130hd_mpr2ct_8, met3, [(3.065,0.515,3.395,0.525), (3.065,0.515,3.395,0.525), (3.055,0.525,3.395,0.53), (3.055,0.525,3.395,0.53), (2.595,0.53,3.395,0.83), (2.595,0.53,3.395,0.83), (3.065,0.83,3.395,0.845), (3.065,0.83,3.395,0.845), (4.51,1.355,4.81,1.365), (4.51,1.355,4.81,1.365), (4.425,1.365,4.81,1.38), (4.425,1.365,4.81,1.38), (4.425,1.38,5.225,1.68), (4.425,1.38,5.225,1.68), (4.425,1.68,4.755,1.695), (4.425,1.68,4.755,1.695), (3.395,1.705,3.725,1.72), (3.395,1.705,3.725,1.72), (2.935,1.72,3.735,2.02), (2.935,1.72,3.735,2.02), (4.78,2.015,5.08,2.045), (4.78,2.015,5.08,2.045), (3.395,2.02,3.725,2.035), (3.395,2.02,3.725,2.035), (4.765,2.045,5.095,2.06), (4.765,2.045,5.095,2.06), (4.765,2.06,5.565,2.36), (4.765,2.06,5.565,2.36), (4.765,2.36,5.095,2.375), (4.765,2.36,5.095,2.375), (1.705,2.445,2.035,2.46), (1.705,2.445,2.035,2.46), (3.745,2.445,4.075,2.46), (3.745,2.445,4.075,2.46), (1.705,2.46,4.075,2.76), (1.705,2.46,4.075,2.76), (1.705,2.76,2.035,2.775), (1.705,2.76,2.035,2.775), (3.745,2.76,4.075,2.775), (3.745,2.76,4.075,2.775), (4.1,4.035,4.4,4.08), (4.1,4.035,4.4,4.08), (5.17,4.055,5.47,4.08), (5.17,4.055,5.47,4.08), (2.385,4.08,2.715,4.095), (2.385,4.08,2.715,4.095), (4.075,4.08,4.405,4.095), (4.075,4.08,4.405,4.095), (5.115,4.08,5.47,4.095), (5.115,4.08,5.47,4.095), (1.915,4.095,2.715,4.395), (1.915,4.095,2.715,4.395), (3.605,4.095,4.405,4.395), (3.605,4.095,4.405,4.395), (5.115,4.095,5.915,4.395), (5.115,4.095,5.915,4.395), (2.385,4.395,2.715,4.41), (2.385,4.395,2.715,4.41), (4.075,4.395,4.405,4.41), (4.075,4.395,4.405,4.41), (5.115,4.395,5.445,4.41), (5.115,4.395,5.445,4.41), (2.975,4.715,3.275,4.74), (2.975,4.715,3.275,4.74), (2.975,4.74,3.395,4.785), (2.975,4.74,3.395,4.785), (2.595,4.785,3.395,5.085), (2.595,4.785,3.395,5.085)])
R(scs130hd_mpr2ct_8, hvtp, [(0.225,1.305,1.155,2.53), (0.225,1.305,1.155,2.53), (1.675,1.305,2.545,2.53), (1.675,1.305,2.545,2.53), (2.975,1.305,3.845,2.665), (2.975,1.305,3.845,2.665), (4.395,1.305,4.905,2.53), (4.395,1.305,4.905,2.53), (5.335,1.305,7.105,2.53), (5.335,1.305,7.105,2.53), (0.225,2.53,2.545,2.665), (0.225,2.53,2.545,2.665), (4.395,2.53,7.105,2.665), (4.395,2.53,7.105,2.665), (0.695,2.665,2.035,2.91), (0.695,2.665,2.035,2.91), (2.995,2.665,3.845,2.775), (2.995,2.665,3.845,2.775), (4.395,2.665,6.665,2.775), (4.395,2.665,6.665,2.775), (2.995,2.775,3.925,4.135), (2.995,2.775,3.925,4.135), (4.355,2.775,6.665,2.91), (4.355,2.775,6.665,2.91), (0.695,2.91,1.625,4.135), (0.695,2.91,1.625,4.135), (4.355,2.91,5.285,4.135), (4.355,2.91,5.285,4.135), (5.735,2.91,6.665,4.135), (5.735,2.91,6.665,4.135)])
R(scs130hd_mpr2ct_8, stdcell_id, [(0,0,7.36,5.44), (0,0,7.36,5.44)])
R(scs130hd_mpr2ct_8, nsdm, [(0.02,0.11,7.31,1.01), (0.02,0.11,7.31,1.01), (0.49,4.43,1.83,5.33), (0.49,4.43,1.83,5.33), (2.79,4.43,6.87,5.33), (2.79,4.43,6.87,5.33)])
R(scs130hd_mpr2ct_8, psdm, [(0.02,1.36,7.31,2.61), (0.02,1.36,7.31,2.61), (0.49,2.61,1.84,2.92), (0.49,2.61,1.84,2.92), (2.375,2.61,6.87,2.91), (2.375,2.61,6.87,2.91), (2.79,2.91,6.87,4.08), (2.79,2.91,6.87,4.08), (0.49,2.92,1.83,4.08), (0.49,2.92,1.83,4.08)])
R(scs130hd_mpr2ct_8, npc, [(0.925,0.975,1.835,1.345), (0.925,0.975,1.835,1.345), (2.305,0.975,3.215,1.345), (2.305,0.975,3.215,1.345), (3.685,0.975,4.055,1.345), (3.685,0.975,4.055,1.345), (4.925,0.975,5.775,1.345), (4.925,0.975,5.775,1.345), (6.08,0.975,7.035,1.345), (6.08,0.975,7.035,1.345), (0.54,4.095,0.91,4.465), (0.54,4.095,0.91,4.465), (1.38,4.095,1.75,4.465), (1.38,4.095,1.75,4.465), (2.84,4.095,3.21,4.465), (2.84,4.095,3.21,4.465), (3.68,4.095,4.6,4.465), (3.68,4.095,4.6,4.465), (5.07,4.095,5.98,4.465), (5.07,4.095,5.98,4.465), (6.45,4.095,6.82,4.465), (6.45,4.095,6.82,4.465)])
R(scs130hd_mpr2ct_8, boundary, [(0,0,7.36,5.44), (0,0,7.36,5.44)])
scs130hd_mpr2ct_8.add(gdstk.Label('VPB', (0.46,2.71), layer=64, texttype=5))
scs130hd_mpr2ct_8.add(gdstk.Label('VPB', (0.46,2.71), layer=64, texttype=5))
scs130hd_mpr2ct_8.add(gdstk.Label('VNB', (0.23,5.435), layer=64, texttype=59))
scs130hd_mpr2ct_8.add(gdstk.Label('VNB', (0.41,-0.005), layer=64, texttype=59))
scs130hd_mpr2ct_8.add(gdstk.Label('VNB', (0.23,5.435), layer=64, texttype=59))
scs130hd_mpr2ct_8.add(gdstk.Label('VNB', (0.41,-0.005), layer=64, texttype=59))
scs130hd_mpr2ct_8.add(gdstk.Label('vgnd', (0.69,5.445), layer=68, texttype=5))
scs130hd_mpr2ct_8.add(gdstk.Label('vgnd', (0.68,0), layer=68, texttype=5))
scs130hd_mpr2ct_8.add(gdstk.Label('vpwr', (0.695,2.725), layer=68, texttype=5))
scs130hd_mpr2ct_8.add(gdstk.Label('vgnd', (0.69,5.445), layer=68, texttype=5))
scs130hd_mpr2ct_8.add(gdstk.Label('vgnd', (0.68,0), layer=68, texttype=5))
scs130hd_mpr2ct_8.add(gdstk.Label('vpwr', (0.695,2.725), layer=68, texttype=5))
scs130hd_mpr2ct_8.add(gdstk.Label('A1', (4.24,4.245), layer=70, texttype=5))
scs130hd_mpr2ct_8.add(gdstk.Label('A0', (3.23,4.905), layer=70, texttype=5))
scs130hd_mpr2ct_8.add(gdstk.Label('B0', (2.55,4.245), layer=70, texttype=5))
scs130hd_mpr2ct_8.add(gdstk.Label('B1', (5.28,4.245), layer=70, texttype=5))
scs130hd_mpr2ct_8.add(gdstk.Label('R0', (3.56,1.87), layer=70, texttype=5))
scs130hd_mpr2ct_8.add(gdstk.Label('R1', (4.59,1.53), layer=70, texttype=5))
scs130hd_mpr2ct_8.add(gdstk.Label('R2', (3.23,0.68), layer=70, texttype=5))
scs130hd_mpr2ct_8.add(gdstk.Label('R3', (4.93,2.21), layer=70, texttype=5))
scs130hd_mpr2ct_8.add(gdstk.Label('A1', (4.24,4.245), layer=70, texttype=5))
scs130hd_mpr2ct_8.add(gdstk.Label('A0', (3.23,4.905), layer=70, texttype=5))
scs130hd_mpr2ct_8.add(gdstk.Label('B0', (2.55,4.245), layer=70, texttype=5))
scs130hd_mpr2ct_8.add(gdstk.Label('B1', (5.28,4.245), layer=70, texttype=5))
scs130hd_mpr2ct_8.add(gdstk.Label('R0', (3.56,1.87), layer=70, texttype=5))
scs130hd_mpr2ct_8.add(gdstk.Label('R1', (4.59,1.53), layer=70, texttype=5))
scs130hd_mpr2ct_8.add(gdstk.Label('R2', (3.23,0.68), layer=70, texttype=5))
scs130hd_mpr2ct_8.add(gdstk.Label('R3', (4.93,2.21), layer=70, texttype=5))

lib.write_gds('scs130hd_mpr2ct_8.gds')
